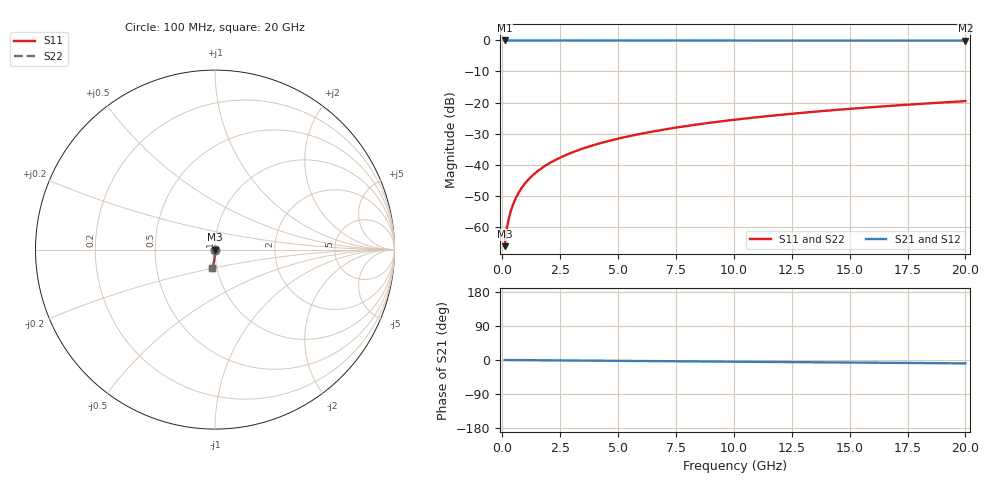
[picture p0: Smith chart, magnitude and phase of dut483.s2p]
! Touchstone file exported from HFSS 2026.1.0
!  File:  C:/ffzhzh/LocalFiles/Ansys_Project_Files/temp_train_TSV_483_1783022627_4048.aedt
!  Generated:  04:05:24 AM Jul  3, 2026
!  Design:  TSV
!  Project:  temp_train_TSV_483_1783022627_4048
! Variables:
!  h_bsmrdl = 2um
!  h_ox = 20um
!  h_rdl = 5um
!  h_sub = 69.57um
!  h_tmrdl = 5um
!  h_tsv = 69.57um
!  h_via = 3um
!  l_bsmrdl = 300um
!  l_sub = 424.24um
!  l_tmrdl = 200um
!  m_sub = 200um
!  pitch = 28.33um
!  r_tsv = 12.12um
!  s_tmrdl = 10um
!  w_bsmrdl = 18um
!  w_sub = 500um
!  w_tmrdl = 12um
!  x_tsv_center1 = 206um
!  x_tsv_center2 = 524um
!  x_tsv_center3 = 736um
!  x_tsv_center4 = 1054um
!  x_tsv_center5 = 1266um
!  x_tsv_center6 = 1584um
# GHz S MA R 50.000000
! Terminal data exported
! Port[1] = TSV1_1_T1
! Port[2] = TSV1_1_T2
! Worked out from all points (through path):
!   200 points, 100 MHz to 20 GHz, reference 50 ohm
!   highest |S21| = 0.00 dB at 100 MHz (marker M1); lowest = -0.1 dB at 20 GHz (marker M2)
!   group delay of S21, straight-line fit = 1.23 ps
!   lowest |S11| = -66.3 dB at 100 MHz (marker M3), VSWR 1.00, Z = 50 - j0.0475 ohm
!   |S11| at or under -10 dB: start of sweep to end of sweep
!   |S22| runs from -66.3 to -19.5 dB; largest |S21 - S12| = 5.6e-15
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0.1  0.0004854 -77.8  0.9999 -0.0  0.9999 -0.0  0.0004854 -77.8
! Gamma 0 0 0 0
! Port Impedance 50 0 50 0
0.2  0.0009623 -82.8  0.9999 -0.1  0.9999 -0.1  0.0009623 -82.8
0.3  0.001452 -84.2  0.9998 -0.1  0.9998 -0.1  0.001452 -84.2
0.4  0.001952 -84.8  0.9998 -0.2  0.9998 -0.2  0.001952 -84.8
0.5  0.002461 -85.2  0.9998 -0.2  0.9998 -0.2  0.002461 -85.2
0.7  0.003498 -85.9  0.9997 -0.3  0.9997 -0.3  0.003498 -85.9
0.8  0.004021 -86.2  0.9997 -0.4  0.9997 -0.4  0.004021 -86.2
1  0.005073 -86.7  0.9997 -0.5  0.9997 -0.5  0.005073 -86.7
1.2  0.006127 -87.2  0.9996 -0.5  0.9996 -0.5  0.006127 -87.2
1.4  0.007181 -87.6  0.9996 -0.6  0.9996 -0.6  0.007181 -87.6
1.7  0.008762 -88.0  0.9995 -0.8  0.9995 -0.8  0.008762 -88.0
2  0.01034 -88.4  0.9995 -0.9  0.9995 -0.9  0.01034 -88.4
2.7  0.01403 -89.2  0.9994 -1.2  0.9994 -1.2  0.01403 -89.2
3.5  0.01825 -89.8  0.9993 -1.6  0.9993 -1.6  0.01825 -89.8
4.2  0.02194 -90.3  0.9991 -1.9  0.9991 -1.9  0.02194 -90.3
5  0.02618 -90.7  0.999 -2.2  0.999 -2.2  0.02618 -90.7
6.8  0.03572 -91.7  0.9985 -3.0  0.9985 -3.0  0.03572 -91.7
8.3  0.04367 -92.5  0.9981 -3.7  0.9981 -3.7  0.04367 -92.5
10.1  0.05321 -93.4  0.9976 -4.5  0.9976 -4.5  0.05321 -93.4
13.4  0.07067 -95.0  0.9963 -6.0  0.9963 -6.0  0.07067 -95.0
16.7  0.08805 -96.6  0.9948 -7.4  0.9948 -7.4  0.08805 -96.6
20  0.1053 -98.1  0.993 -8.9  0.993 -8.9  0.1053 -98.1
